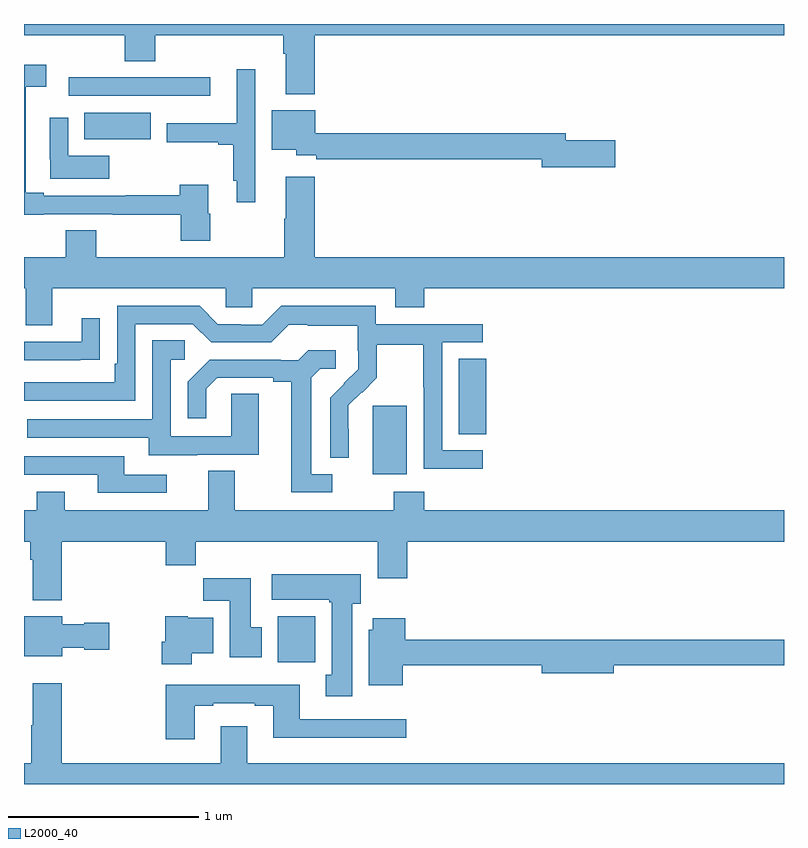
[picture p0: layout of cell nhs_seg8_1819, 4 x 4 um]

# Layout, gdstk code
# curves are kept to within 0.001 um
import gdstk
lib = gdstk.Library(unit=1e-6, precision=1e-09)
def R(c, l, rs):  # rectangles x0, y0, x1, y1
    for r in rs: c.add(gdstk.rectangle(r[:2], r[2:], *l))
def P(c, l, *ps):  # polygons
    for p in ps: c.add(gdstk.Polygon(p, *l))
L2000_40 = (2000, 40)

nhs_seg8_1819 = lib.new_cell('nhs_seg8_1819')
R(nhs_seg8_1819, L2000_40, [(228.335,1106.54,228.532,1106.782), (228.836,1107.53,229.015,1107.891), (229.289,1107.742,229.433,1108.139), (227.317,1109.294,227.667,1109.434)])
P(nhs_seg8_1819, L2000_40, [(228.53,1109.84),(231,1109.84),(231,1109.9),(227,1109.9),(227,1109.84),(227.53,1109.84),(227.53,1109.704),(227.69,1109.704),(227.69,1109.84),(228.365,1109.84),(228.365,1109.744),(228.377,1109.744),(228.377,1109.531),(228.53,1109.531)],
  [(227.979,1108.902),(227.971,1108.902),(227.971,1109.053),(227.819,1109.053),(227.819,1109),(227.536,1109),(227.536,1108.995),(227.104,1108.995),(227.104,1109.011),(227.008,1109.011),(227.008,1109.569),(227.116,1109.569),(227.116,1109.686),(227,1109.686),(227,1108.897),(227.104,1108.897),(227.104,1108.899),(227.467,1108.899),(227.467,1108.897),(227.824,1108.897),(227.824,1108.758),(227.979,1108.758)],
  [(228.217,1109.183),(228.216,1109.183),(228.216,1109.662),(228.119,1109.662),(228.119,1109.377),(227.752,1109.377),(227.752,1109.278),(228.023,1109.278),(228.023,1109.264),(228.1,1109.264),(228.1,1109.074),(228.119,1109.074),(228.119,1108.962),(228.217,1108.962)],
  [(227.98,1109.619),(227.235,1109.619),(227.235,1109.523),(227.76,1109.523),(227.76,1109.522),(227.98,1109.522)],
  [(230.113,1109.288),(229.852,1109.288),(229.852,1109.324),(228.532,1109.324),(228.532,1109.446),(228.305,1109.446),(228.305,1109.237),(228.434,1109.237),(228.434,1109.208),(228.538,1109.208),(228.538,1109.188),(229.724,1109.188),(229.724,1109.146),(230.113,1109.146)],
  [(227.449,1109.206),(227.232,1109.206),(227.232,1109.407),(227.136,1109.407),(227.136,1109.188),(227.137,1109.188),(227.137,1109.085),(227.449,1109.085)],
  [(227.149,1108.508),(228.063,1108.508),(228.063,1108.41),(228.201,1108.41),(228.201,1108.508),(228.953,1108.508),(228.953,1108.409),(229.106,1108.409),(229.106,1108.508),(231,1108.508),(231,1108.672),(228.53,1108.672),(228.53,1109.095),(228.377,1109.095),(228.377,1108.874),(228.37,1108.874),(228.37,1108.672),(227.379,1108.672),(227.379,1108.814),(227.219,1108.814),(227.219,1108.672),(227,1108.672),(227,1108.508),(227.009,1108.508),(227.009,1108.314),(227.149,1108.314)],
  [(229.414,1107.657),(229.2,1107.657),(229.2,1108.224),(229.414,1108.224),(229.414,1108.32),(228.852,1108.32),(228.852,1108.417),(228.355,1108.417),(228.255,1108.317),(228.14,1108.317),(228.14,1108.32),(228.021,1108.32),(227.925,1108.416),(227.49,1108.416),(227.49,1108.111),(227.477,1108.111),(227.477,1108.014),(227,1108.014),(227,1107.918),(227.586,1107.918),(227.586,1108.32),(227.889,1108.32),(227.985,1108.224),(228.3,1108.224),(228.393,1108.317),(228.493,1108.317),(228.493,1108.313),(228.756,1108.313),(228.756,1108.179),(228.758,1108.179),(228.758,1108.082),(228.612,1107.934),(228.612,1107.616),(228.708,1107.616),(228.707,1107.893),(228.777,1107.963),(228.78,1107.96),(228.857,1108.037),(228.857,1108.212),(229.102,1108.212),(229.102,1107.988),(229.104,1107.988),(229.104,1107.559),(229.414,1107.559)],
  [(227.297,1108.132),(227.399,1108.132),(227.399,1108.351),(227.303,1108.351),(227.303,1108.227),(227,1108.227),(227,1108.131),(227.297,1108.131)],
  [(227.911,1107.633),(228.235,1107.633),(228.235,1107.953),(228.09,1107.953),(228.09,1107.729),(227.772,1107.729),(227.772,1108.134),(227.845,1108.134),(227.845,1108.235),(227.676,1108.235),(227.676,1107.819),(227.017,1107.819),(227.017,1107.723),(227.657,1107.723),(227.657,1107.629),(227.911,1107.629)],
  [(228.622,1107.531),(228.511,1107.531),(228.511,1108.039),(228.558,1108.086),(228.64,1108.086),(228.64,1108.183),(228.496,1108.183),(228.444,1108.131),(228.35,1108.131),(228.35,1108.134),(227.978,1108.134),(227.862,1108.018),(227.862,1107.825),(227.959,1107.825),(227.959,1107.981),(228.016,1108.038),(228.311,1108.038),(228.311,1108.016),(228.407,1108.016),(228.407,1107.435),(228.622,1107.435)],
  [(227.752,1107.528),(227.527,1107.528),(227.527,1107.624),(227,1107.624),(227,1107.528),(227.387,1107.528),(227.387,1107.432),(227.752,1107.432)],
  [(227.198,1107.176),(227.747,1107.176),(227.747,1107.052),(227.903,1107.052),(227.903,1107.176),(228.863,1107.176),(228.863,1106.982),(229.016,1106.982),(229.016,1107.176),(231,1107.176),(231,1107.34),(229.106,1107.34),(229.106,1107.439),(228.946,1107.439),(228.946,1107.34),(228.109,1107.34),(228.109,1107.548),(227.969,1107.548),(227.969,1107.34),(227.215,1107.34),(227.215,1107.439),(227.068,1107.439),(227.068,1107.34),(227,1107.34),(227,1107.176),(227.033,1107.176),(227.033,1107.08),(227.045,1107.08),(227.045,1106.867),(227.198,1106.867)],
  [(228.727,1106.85),(228.772,1106.85),(228.772,1107.004),(228.303,1107.004),(228.303,1106.87),(228.607,1106.87),(228.607,1106.857),(228.62,1106.857),(228.62,1106.474),(228.587,1106.474),(228.587,1106.361),(228.727,1106.361)],
  [(228.25,1106.724),(228.193,1106.724),(228.193,1106.983),(227.944,1106.983),(227.944,1106.864),(228.083,1106.864),(228.083,1106.568),(228.25,1106.568)],
  [(227.2,1106.618),(227.316,1106.618),(227.316,1106.606),(227.449,1106.606),(227.449,1106.748),(227.316,1106.748),(227.316,1106.74),(227.2,1106.74),(227.2,1106.782),(227,1106.782),(227,1106.573),(227.2,1106.573)],
  [(227.884,1106.588),(227.995,1106.588),(227.995,1106.776),(227.862,1106.776),(227.862,1106.782),(227.744,1106.782),(227.744,1106.649),(227.726,1106.649),(227.726,1106.531),(227.884,1106.531)],
  [(228.994,1106.524),(229.724,1106.524),(229.724,1106.482),(230.104,1106.482),(230.104,1106.524),(231,1106.524),(231,1106.66),(229.007,1106.66),(229.007,1106.773),(228.836,1106.773),(228.836,1106.712),(228.815,1106.712),(228.815,1106.42),(228.994,1106.42)],
  [(231,1106.008),(228.175,1106.008),(228.175,1106.203),(228.035,1106.203),(228.035,1106.008),(227.198,1106.008),(227.198,1106.431),(227.045,1106.431),(227.045,1106.21),(227.038,1106.21),(227.038,1106.008),(227,1106.008),(227,1105.9),(231,1105.9)],
  [(227.899,1106.313),(227.995,1106.313),(227.995,1106.325),(228.215,1106.325),(228.215,1106.313),(228.311,1106.313),(228.311,1106.144),(229.012,1106.144),(229.012,1106.241),(228.451,1106.241),(228.451,1106.422),(227.747,1106.422),(227.747,1106.136),(227.899,1106.136)])

lib.write_gds('nhs_seg8_1819.gds')
